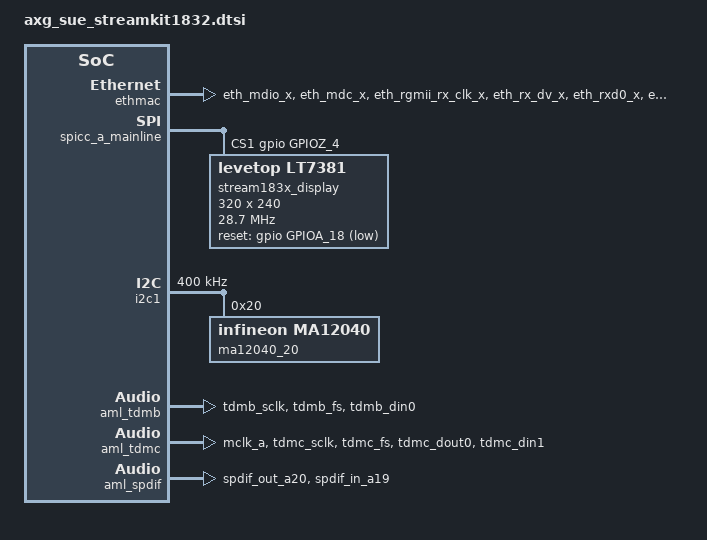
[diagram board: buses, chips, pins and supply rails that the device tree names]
/*
 * arch/arm64/boot/dts/amlogic/axg_sue_streamkit1832.dtsi
 *
 * Copyright (C) 2020 Amlogic, Inc. All rights reserved.
 *
 * This program is free software; you can redistribute it and/or modify
 * it under the terms of the GNU General Public License as published by
 * the Free Software Foundation; either version 2 of the License, or
 * (at your option) any later version.
 *
 * This program is distributed in the hope that it will be useful, but WITHOUT
 * ANY WARRANTY; without even the implied warranty of MERCHANTABILITY or
 * FITNESS FOR A PARTICULAR PURPOSE.  See the GNU General Public License for
 * more details.
 *
 */


/*
 * DT for default configuration of Stream183x external IOs.
 */


/ {
	sue {
		carrierboard = "streamkit1832";
	};

	aliases {
		spi0 = &spicc_a_mainline;
	};

	ethmac: ethernet@0xff3f0000 {
		compatible = "amlogic, gxbb-eth-dwmac";

		pinctrl-0 = <&external_eth_pins_x>;
		pinctrl-names = "external_eth_pins";

		reg = <0x0 0xff3f0000 0x0 0x10000 0x0 0xff634540 0x0 0x8>;
		interrupts = <0 8 1>;
		mc_val_external_phy = <0x1804>;
		interrupt-names = "macirq";
		clocks = <&clkc CLKID_ETH_CORE>;
		clock-names = "ethclk81";
		internal_phy=<0>;

		snps,reset-gpio = <&gpio_ao GPIOAO_7 GPIO_ACTIVE_LOW>;
		snps,reset-active-low = <1>;
		snps,reset-delays-us = <1000 10000 1000>;
	};

	/* Sound iomap */
	aml_snd_iomap {
		compatible = "amlogic, axg-snd-iomap";
		status = "okay";
		#address-cells=<2>;
		#size-cells=<2>;
		ranges;
		pdm_bus {
			reg = <0x0 0xFF632000 0x0 0x20>;
		};
		audiobus_base {
			reg = <0x0 0xFF642000 0x0 0x2000>;
		};
	};
	pdm_codec:dummy{
		#sound-dai-cells = <0>;
		compatible = "amlogic, pdm_dummy_codec";
		status = "okay";
	};
	dummy_codec:dummy{
		#sound-dai-cells = <0>;
		compatible = "amlogic, aml_dummy_codec";
		playback-rates = <44100 48000 64000 88200 96000 176400 192000>;
		status = "okay";
	};

	auge_sound: auge_sound {
		compatible = "amlogic, axg-sound-card";
		aml-audio-card,name = "AML-AUGESOUND";

		/*
		aml-audio-card,loopback = <&aml_loopback>;
		*/

		spk_mute = <&gpio_ao GPIOAO_13 GPIO_ACTIVE_LOW>;
	};

	spicc_a_mainline: spi@ffd130000 {
		status = "okay";
		pinctrl-names= "default";
		pinctrl-0=<&spicc_a_pins>;

		compatible = "amlogic,meson-axg-spicc";
		reg = <0x0 0xffd13000 0x0 0x3c>;
		interrupts = <GIC_SPI 81 IRQ_TYPE_LEVEL_HIGH>;
		clocks = <&clkc CLKID_SPICC0>;
		clock-names = "core";
		#address-cells = <1>;
		#size-cells = <0>;
	};
};

&i2c1 {
	status = "okay";
	pinctrl-names="default";
	pinctrl-0=<&b_i2c_master>;
	clock-frequency = <400000>;

	ma12040_20: ma12040@20 {
		compatible = "infineon,ma12040";
		#sound-dai-cells = <0>;
		reg = <0x20>;
	};
};

&spicc_a {
	/*
	 * The Amlogic SPICC driver has issues when using multiple GPIO chip selects,
	 * so we disable it here and instead use the driver from the Linux kernel for
	 * the Amlogic SPICC block.
	 */
	status = "disabled";
};

&spicc_a_pins {
	mux {
		/*
		 * Remove the hardware chip select pins from the SPI0 mux, instead
		 * GPIOs will be used to drive the respective chip select lines.
		 */
		groups = "spi0_clk",
			"spi0_mosi",
			"spi0_miso";
		function = "spi0";
	};
};

&audiobus {
	aml_tdmb: tdmb {
		compatible = "amlogic, snd-tdmb";
		#sound-dai-cells = <0>;
		dai-tdm-lane-slot-mask-in = <1>;
		dai-tdm-clk-sel = <1>;
		clocks = <&clkaudio CLKID_AUDIO_MCLK_B
				&clkc CLKID_HIFI_PLL>;
		clock-names = "mclk", "clk_srcpll";
		pinctrl-names = "tdm_pins";
		pinctrl-0 = <&tdmin_b_pins>;
		status = "okay";
	};

	aml_tdmc: tdmc {
		compatible = "amlogic, snd-tdmc";
		#sound-dai-cells = <0>;
		dai-tdm-lane-slot-mask-out = <1 0>;
		dai-tdm-lane-slot-mask-in = <0 1>;
		dai-tdm-clk-sel = <2>;
		clocks = <&clkaudio CLKID_AUDIO_MCLK_C
				&clkc CLKID_HIFI_PLL>;
		clock-names = "mclk", "clk_srcpll";
		pinctrl-names = "tdm_pins";
		pinctrl-0 = <&tdmc_mclk_pins &tdmout_c_pins &tdmin_c_pins>;
		status = "okay";

		/*
		 * Only enable the drift compensator for the TDM-C interface.
		 * We do not want one for the TDM-B interface because in our
		 * case both would control the same PLL.
		 */
		enable-drift-compensator;
	};

	aml_spdif: spdif {
		compatible = "amlogic, snd-spdif";
		#sound-dai-cells = <0>;
		clocks = <&clkc CLKID_MPLL0
				&clkc CLKID_FCLK_DIV4
				&clkaudio CLKID_AUDIO_SPDIFIN
				&clkaudio CLKID_AUDIO_SPDIFOUT
				&clkaudio CLKID_AUDIO_SPDIFIN_CTRL
				&clkaudio CLKID_AUDIO_SPDIFOUT_CTRL>;
		clock-names = "sysclk", "fixed_clk", "gate_spdifin",
				"gate_spdifout", "clk_spdifin", "clk_spdifout";
		interrupts =
				<GIC_SPI 87 IRQ_TYPE_EDGE_RISING>;

		interrupt-names = "irq_spdifin";
		pinctrl-names = "spdif_pins";
		pinctrl-0 = <&spdifout_pins &spdifin_pins>;
		status = "okay";
	};

	audioresample: resample {
		compatible = "amlogic, axg-resample";
		clocks = <&clkc CLKID_MPLL0
				&clkaudio CLKID_AUDIO_MCLK_F
				&clkaudio CLKID_AUDIO_RESAMPLE_CTRL>;
		clock-names = "resample_pll", "resample_src", "resample_clk";
		/*same with toddr_src
		 *	TDMIN_A,
		 *	TDMIN_B,
		 *	TDMIN_C,
		 *	SPDIFIN,
		 *	PDMIN,
		 *	NONE,
		 *	TDMIN_LB,
		 *	LOOPBACK,
		 */
		resample_module = <3>;
		status = "okay";
	};

	aml_loopback: loopback {
		compatible = "amlogic, snd-loopback";
		/*
		 * 0: out rate = in data rate;
		 * 1: out rate = loopback data rate;
		 */
		lb_mode = <0>;

		/* datain src
		 * 0: tdmin_a;
		 * 1: tdmin_b;
		 * 2: tdmin_c;
		 * 3: spdifin;
		 * 4: pdmin;
		 */
		datain_src = <4>;
		datain_chnum = <8>;
		datain_chmask = <0x7f>;

		/* tdmin_lb src
		 * 0: tdmoutA
		 * 1: tdmoutB
		 * 2: tdmoutC
		 * 3: PAD_tdminA
		 * 4: PAD_tdminB
		 * 5: PAD_tdminC
		 */
		datalb_src = <2>;
		datalb_chnum = <2>;
		datalb_chmask = <0x1>;

		status = "disabled";
	};
};

&pinctrl_aobus {
};

&pinctrl_periphs {
	external_eth_pins_x:external_eth_pins_x {
		mux {
			groups = "eth_mdio_x",
				"eth_mdc_x",
				"eth_rgmii_rx_clk_x",
				"eth_rx_dv_x",
				"eth_rxd0_x",
				"eth_rxd1_x",
				"eth_txen_x",
				"eth_txd0_x",
				"eth_txd1_x";
			function = "eth";
		};
	};

	tdmin_b_pins:tdmin_b_pins {
		groups = "tdmb_sclk",
			"tdmb_fs",
			"tdmb_din0";
		function = "tdmb_in";
	};

	tdmc_mclk_pins:tdmc_mclk_pins {
		mux {
			groups = "mclk_a";
			function = "mclk_a";
		};
	};

	tdmout_c_pins:tdmout_c_pins {
		mux {
			groups = "tdmc_sclk",
				"tdmc_fs",
				"tdmc_dout0";
			function = "tdmc_out";
		};
	};

	tdmin_c_pins:tdmin_c_pins {
		mux {
			groups = "tdmc_din1";
			function = "tdmc_in";
		};
	};

	spdifout_pins:spidfout_pins {
		mux {
			groups = "spdif_out_a20";
			function = "spdif_out";
		};
	};

	spdifin_pins:spidfin_pins {
		mux {
			groups = "spdif_in_a19";
			function = "spdif_in";
		};
	};

	pdmin_pins:pdmin_pins {
		mux {
			groups = "pdm_dclk_a14",
				"pdm_din0";
			function = "pdm";
		};
	};
};

&spicc_a_mainline {
	num-cs = <2>;
	cs-gpios = <0>, <&gpio GPIOZ_4 GPIO_ACTIVE_HIGH>;

	stream183x_display: spi@1 {
		compatible = "levetop,lt7381";
		status = "okay";
		reg = <1>;
		spi-max-frequency = <28700000>;
		spi-cpol;
		spi-cpha;
		buswidth = <8>;
		rotate = <0>;
		width = <320>;
		height = <240>;
		bgr;
		reset-gpios = <&gpio GPIOA_18 GPIO_ACTIVE_LOW>;
		debug = <1>;
		xtal-frequency = <10000000>;
	};
};
